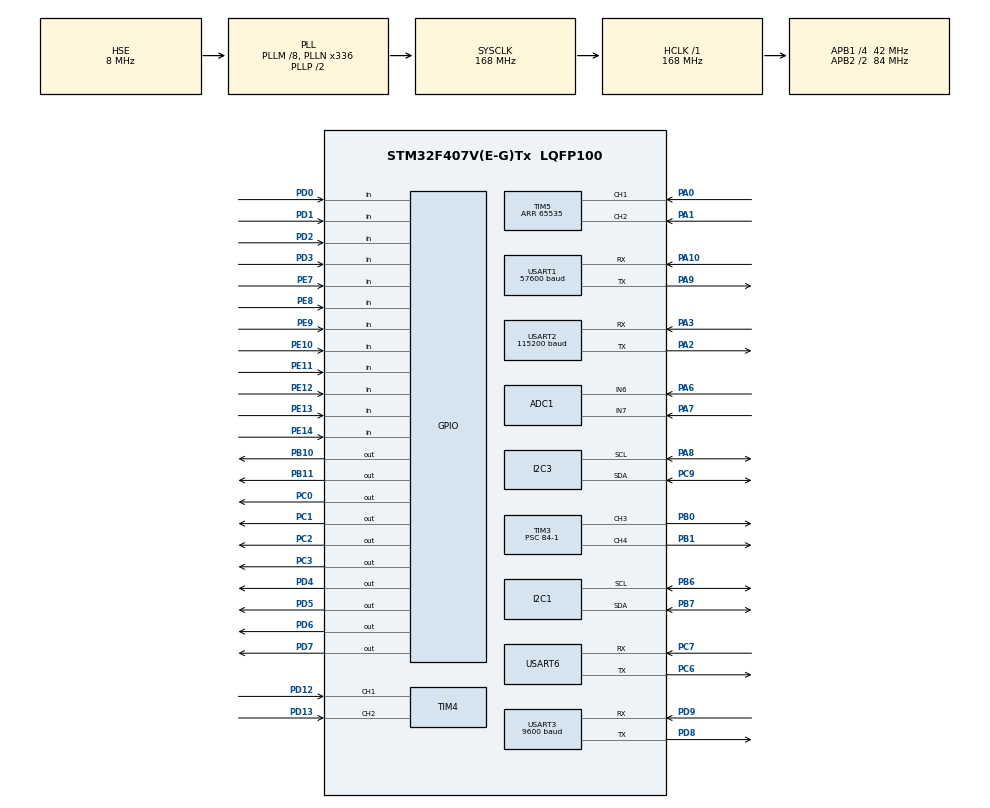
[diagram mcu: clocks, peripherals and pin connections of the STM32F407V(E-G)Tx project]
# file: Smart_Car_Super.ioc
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ADC1.Channel-3\#ChannelRegularConversion=ADC_CHANNEL_6
ADC1.NbrOfConversionFlag=1
ADC1.Rank-3\#ChannelRegularConversion=1
ADC1.SamplingTime-3\#ChannelRegularConversion=ADC_SAMPLETIME_3CYCLES
ADC1.master=1
Mcu.Family=STM32F4
Mcu.Name=STM32F407V(E-G)Tx
Mcu.Package=LQFP100
NVIC.PriorityGroup=NVIC_PRIORITYGROUP_4
NVIC.TIM1_BRK_TIM9_IRQn=true\:0\:0\:false\:false\:true\:true\:true\:true
NVIC.TIM2_IRQn=true\:0\:0\:false\:false\:true\:true\:true\:true
NVIC.TIM8_BRK_TIM12_IRQn=true\:0\:0\:false\:false\:true\:true\:true\:true
NVIC.USART1_IRQn=true\:0\:0\:false\:false\:true\:true\:true\:true
NVIC.USART2_IRQn=true\:0\:0\:false\:false\:true\:true\:true\:true
NVIC.USART3_IRQn=true\:0\:0\:false\:false\:true\:true\:true\:true
PA0-WKUP.GPIO_PuPd=GPIO_PULLUP
PA0-WKUP.Signal=S_TIM5_CH1
PA1.GPIO_PuPd=GPIO_PULLUP
PA1.Signal=S_TIM5_CH2
PA10.Mode=Asynchronous
PA10.Signal=USART1_RX
PA13.Mode=Serial_Wire
PA13.Signal=SYS_JTMS-SWDIO
PA14.Mode=Serial_Wire
PA14.Signal=SYS_JTCK-SWCLK
PA2.Mode=Asynchronous
PA2.Signal=USART2_TX
PA3.Mode=Asynchronous
PA3.Signal=USART2_RX
PA6.Signal=ADCx_IN6
PA7.Signal=ADCx_IN7
PA8.Mode=I2C
PA8.Signal=I2C3_SCL
PA9.Mode=Asynchronous
PA9.Signal=USART1_TX
PB0.Signal=S_TIM3_CH3
PB1.Signal=S_TIM3_CH4
PB10.GPIO_ModeDefaultOutputPP=GPIO_MODE_OUTPUT_PP
PB10.GPIO_PuPd=GPIO_NOPULL
PB10.Signal=GPIO_Output
PB11.GPIO_ModeDefaultOutputPP=GPIO_MODE_OUTPUT_PP
PB11.GPIO_PuPd=GPIO_NOPULL
PB11.Signal=GPIO_Output
PB6.Mode=I2C
PB6.Signal=I2C1_SCL
PB7.Mode=I2C
PB7.Signal=I2C1_SDA
PC0.Signal=GPIO_Output
PC1.Signal=GPIO_Output
PC2.Signal=GPIO_Output
PC3.Signal=GPIO_Output
PC6.Mode=Asynchronous
PC6.Signal=USART6_TX
PC7.Mode=Asynchronous
PC7.Signal=USART6_RX
PC9.Mode=I2C
PC9.Signal=I2C3_SDA
PD0.GPIO_PuPd=GPIO_PULLUP
PD0.Signal=GPIO_Input
PD1.GPIO_PuPd=GPIO_PULLUP
PD1.Signal=GPIO_Input
PD12.Signal=S_TIM4_CH1
PD13.Signal=S_TIM4_CH2
PD2.GPIO_PuPd=GPIO_PULLUP
PD2.Signal=GPIO_Input
PD3.GPIO_PuPd=GPIO_PULLUP
PD3.Signal=GPIO_Input
PD4.Signal=GPIO_Output
PD5.Signal=GPIO_Output
PD6.Signal=GPIO_Output
PD7.Signal=GPIO_Output
PD8.Mode=Asynchronous
PD8.Signal=USART3_TX
PD9.Mode=Asynchronous
PD9.Signal=USART3_RX
PE10.Signal=GPIO_Input
PE11.Signal=GPIO_Input
PE12.Signal=GPIO_Input
PE13.Signal=GPIO_Input
PE14.Signal=GPIO_Input
PE7.Signal=GPIO_Input
PE8.Signal=GPIO_Input
PE9.Signal=GPIO_Input
PH0-OSC_IN.Mode=HSE-External-Oscillator
PH0-OSC_IN.Signal=RCC_OSC_IN
PH1-OSC_OUT.Mode=HSE-External-Oscillator
PH1-OSC_OUT.Signal=RCC_OSC_OUT
ProjectManager.HeapSize=0x200
ProjectManager.StackSize=0x400
ProjectManager.TargetToolchain=MDK-ARM V5.32
RCC.48MHZClocksFreq_Value=84000000
RCC.AHBFreq_Value=168000000
RCC.APB1CLKDivider=RCC_HCLK_DIV4
RCC.APB1Freq_Value=42000000
RCC.APB1TimFreq_Value=84000000
RCC.APB2CLKDivider=RCC_HCLK_DIV2
RCC.APB2Freq_Value=84000000
RCC.APB2TimFreq_Value=168000000
RCC.CortexFreq_Value=168000000
RCC.HCLKFreq_Value=168000000
RCC.HSE_VALUE=8000000
RCC.HSI_VALUE=16000000
RCC.LSE_VALUE=32768
RCC.PLLM=8
RCC.PLLN=336
RCC.PLLSourceVirtual=RCC_PLLSOURCE_HSE
RCC.SYSCLKFreq_VALUE=168000000
RCC.SYSCLKSource=RCC_SYSCLKSOURCE_PLLCLK
RCC.VCOOutputFreq_Value=336000000
SH.ADCx_IN6.0=ADC1_IN6,IN6
SH.ADCx_IN7.0=ADC1_IN7,IN7
SH.S_TIM3_CH3.0=TIM3_CH3,PWM Generation3 CH3
SH.S_TIM3_CH4.0=TIM3_CH4,PWM Generation4 CH4
SH.S_TIM4_CH1.0=TIM4_CH1,Encoder_Interface
SH.S_TIM4_CH2.0=TIM4_CH2,Encoder_Interface
SH.S_TIM5_CH1.0=TIM5_CH1,Encoder_Interface
SH.S_TIM5_CH2.0=TIM5_CH2,Encoder_Interface
TIM2.Period=10000
TIM2.Prescaler=84-1
TIM3.Channel-PWM\ Generation3\ CH3=TIM_CHANNEL_3
TIM3.Channel-PWM\ Generation4\ CH4=TIM_CHANNEL_4
TIM3.Period=10000-1
TIM3.Prescaler=84-1
TIM4.EncoderMode=TIM_ENCODERMODE_TI12
TIM5.EncoderMode=TIM_ENCODERMODE_TI12
TIM5.Period=65535
TIM8.Period=1000
TIM8.Prescaler=84-1
TIM9.Period=100
TIM9.Prescaler=84-1
USART1.BaudRate=57600
USART1.VirtualMode=VM_ASYNC
USART2.BaudRate=115200
USART2.VirtualMode=VM_ASYNC
USART3.BaudRate=9600
USART3.VirtualMode=VM_ASYNC
USART6.VirtualMode=VM_ASYNC
VP_TIM2_VS_ClockSourceINT.Mode=Internal
VP_TIM3_VS_ClockSourceINT.Mode=Internal
VP_TIM8_VS_ClockSourceINT.Mode=Internal
VP_TIM9_VS_ClockSourceINT.Mode=Internal
board=custom

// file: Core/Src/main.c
/* USER CODE BEGIN Header */
/**
  ******************************************************************************
  * @file           : main.c
  * @brief          : Main program body
  ******************************************************************************
  * @attention
  *
  * Copyright (c) 2024 STMicroelectronics.
  * All rights reserved.
  *
  * This software is licensed under terms that can be found in the LICENSE file
  * in the root directory of this software component.
  * If no LICENSE file comes with this software, it is provided AS-IS.
  *
  ******************************************************************************
  */
/* USER CODE END Header */
#include "main.h"
#include "adc.h"
#include "i2c.h"
#include "tim.h"
#include "usart.h"
#include "gpio.h"

/* USER CODE BEGIN Includes */
#include "L298N.h"
#include <stdio.h>
#include <String.h>
#include "OLED.h"
#include "vofa.h"
#include "matrix_keyboard.h"
#include "convert.h"
#include "pid.h"
#include "HuiDu.h"
#include "interrupt.h"
#include "mpuiic.h"
#include "mpu6050.h"
#include "IMU_FLITER.h"
#include "Delay.h"
/* USER CODE END Includes */

void SystemClock_Config(void);

int main(void)
{

  /* MCU Configuration--------------------------------------------------------*/

  /* Reset of all peripherals, Initializes the Flash interface and the Systick. */
  HAL_Init();

  /* Configure the system clock */
  SystemClock_Config();

  /* Initialize all configured peripherals */
  MX_GPIO_Init();
  MX_I2C1_Init();
  MX_TIM2_Init();
  MX_TIM3_Init();
  MX_USART1_UART_Init();
  MX_USART2_UART_Init();
  MX_USART3_UART_Init();
  MX_ADC1_Init();
  MX_I2C3_Init();
  MX_TIM4_Init();
  MX_TIM5_Init();
  MX_USART6_UART_Init();
  MX_TIM8_Init();
  MX_TIM9_Init();
  /* USER CODE BEGIN 2 */

  MPU_Init();

  OLED_Init();

	HAL_UART_Receive_IT(&huart1,(uint8_t *)&USART1_NewData,1);
  HAL_UART_Receive_IT(&huart2, (uint8_t *)&rx_buff, 1);
  HAL_UART_Receive_IT(&huart3,(uint8_t *)&USART3_NewData,1);

//	HAL_UART_Receive_IT(&huart2,(uint8_t *)&USART2_NewData,1);

  __HAL_TIM_CLEAR_IT(&htim2, TIM_IT_UPDATE);

  HAL_TIM_Base_Start_IT(&htim2);
	HAL_TIM_Base_Start_IT(&htim3);

  HAL_TIM_PWM_Start(&htim3,TIM_CHANNEL_1);
  HAL_TIM_PWM_Start(&htim3,TIM_CHANNEL_2);
  HAL_TIM_PWM_Start(&htim3,TIM_CHANNEL_3);
  HAL_TIM_PWM_Start(&htim3,TIM_CHANNEL_4);

   OLED_Clear();

  /* USER CODE END 2 */

  /* Infinite loop */
  while (1)
  {

    /* USER CODE BEGIN 3 */

   //temperature=MPU_Get_Temperature();
	//TargetTracking();
	/*OLED_Showdecimal(0,0,pinum-48,3,1,16);
	OLED_Showdecimal(0,2,pinum2-48,3,1,16);
	OLED_Showdecimal(0,4,pinum3-48,3,1,16);
		*/

	//树莓派显示数字
	OLED_Showdecimal(0,0,pinum,2,1,16);
	OLED_Showdecimal(0,2,pinum2,2,1,16);
	OLED_Showdecimal(0,4,pinum3,2,1,16);

	//OLED_Showdecimal(72,2,temperature,4,1,16);
 // OLED_Showdecimal(72,4,USART3_RX_STA,3,1,16);

	//灰度
  OLED_ShowNum(0,6,L4,1,16);OLED_ShowNum(12,6,L3,1,16);OLED_ShowNum(24,6,L2,1,16);OLED_ShowNum(36,6,L1,1,16);
	OLED_ShowNum(48,6,R1,1,16);OLED_ShowNum(60,6,R2,1,16);OLED_ShowNum(72,6,R3,1,16);OLED_ShowNum(84,6,R4,1,16);

	//蓝牙控车
	if(num=='u'){
	Forward();
	}
	if(num=='l'){
	Left();
	}
	if(num=='r'){
	Right();
	}
	if(num=='d'){
	Back();
	}
	if(num=='0'){
	Reset();
	}

	if(L4==1){

	}

	vodka_JustFloat_send(&huart2);   //vofa
}
  /* USER CODE END 3 */
}

void SystemClock_Config(void)
{
  RCC_OscInitTypeDef RCC_OscInitStruct = {0};
  RCC_ClkInitTypeDef RCC_ClkInitStruct = {0};

  /** Configure the main internal regulator output voltage
  */
  __HAL_RCC_PWR_CLK_ENABLE();
  __HAL_PWR_VOLTAGESCALING_CONFIG(PWR_REGULATOR_VOLTAGE_SCALE1);

  /** Initializes the RCC Oscillators according to the specified parameters
  * in the RCC_OscInitTypeDef structure.
  */
  RCC_OscInitStruct.OscillatorType = RCC_OSCILLATORTYPE_HSE;
  RCC_OscInitStruct.HSEState = RCC_HSE_ON;
  RCC_OscInitStruct.PLL.PLLState = RCC_PLL_ON;
  RCC_OscInitStruct.PLL.PLLSource = RCC_PLLSOURCE_HSE;
  RCC_OscInitStruct.PLL.PLLM = 8;
  RCC_OscInitStruct.PLL.PLLN = 336;
  RCC_OscInitStruct.PLL.PLLP = RCC_PLLP_DIV2;
  RCC_OscInitStruct.PLL.PLLQ = 4;
  if (HAL_RCC_OscConfig(&RCC_OscInitStruct) != HAL_OK)
  {
    Error_Handler();
  }

  /** Initializes the CPU, AHB and APB buses clocks
  */
  RCC_ClkInitStruct.ClockType = RCC_CLOCKTYPE_HCLK|RCC_CLOCKTYPE_SYSCLK
                              |RCC_CLOCKTYPE_PCLK1|RCC_CLOCKTYPE_PCLK2;
  RCC_ClkInitStruct.SYSCLKSource = RCC_SYSCLKSOURCE_PLLCLK;
  RCC_ClkInitStruct.AHBCLKDivider = RCC_SYSCLK_DIV1;
  RCC_ClkInitStruct.APB1CLKDivider = RCC_HCLK_DIV4;
  RCC_ClkInitStruct.APB2CLKDivider = RCC_HCLK_DIV2;

  if (HAL_RCC_ClockConfig(&RCC_ClkInitStruct, FLASH_LATENCY_5) != HAL_OK)
  {
    Error_Handler();
  }
}

void Error_Handler(void)
{
  __disable_irq();
  while (1)
  {
  }
}
